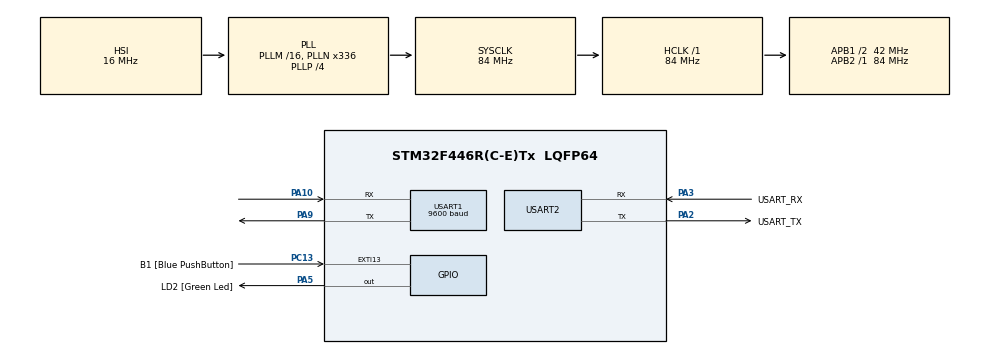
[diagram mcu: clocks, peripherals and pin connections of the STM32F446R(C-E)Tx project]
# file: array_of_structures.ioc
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Mcu.Family=STM32F4
Mcu.Name=STM32F446R(C-E)Tx
Mcu.Package=LQFP64
NVIC.PriorityGroup=NVIC_PRIORITYGROUP_0
PA10.Mode=Asynchronous
PA10.Signal=USART1_RX
PA13.GPIO_Label=TMS
PA13.Mode=Serial_Wire
PA13.Signal=SYS_JTMS-SWDIO
PA14.GPIO_Label=TCK
PA14.Mode=Serial_Wire
PA14.Signal=SYS_JTCK-SWCLK
PA2.GPIO_Label=USART_TX
PA2.Mode=Asynchronous
PA2.Signal=USART2_TX
PA3.GPIO_Label=USART_RX
PA3.Mode=Asynchronous
PA3.Signal=USART2_RX
PA5.GPIO_Label=LD2 [Green Led]
PA5.Signal=GPIO_Output
PA9.Mode=Asynchronous
PA9.Signal=USART1_TX
PB3.GPIO_Label=SWO
PB3.Signal=SYS_JTDO-SWO
PC13.GPIO_Label=B1 [Blue PushButton]
PC13.GPIO_ModeDefaultEXTI=GPIO_MODE_IT_FALLING
PC13.Signal=GPXTI13
PC14-OSC32_IN.Mode=LSE-External-Oscillator
PC14-OSC32_IN.Signal=RCC_OSC32_IN
PC15-OSC32_OUT.Mode=LSE-External-Oscillator
PC15-OSC32_OUT.Signal=RCC_OSC32_OUT
PH0-OSC_IN.Mode=HSE-External-Oscillator
PH0-OSC_IN.Signal=RCC_OSC_IN
PH1-OSC_OUT.Mode=HSE-External-Oscillator
PH1-OSC_OUT.Signal=RCC_OSC_OUT
ProjectManager.HeapSize=0x200
ProjectManager.StackSize=0x400
ProjectManager.TargetToolchain=STM32CubeIDE
RCC.48MHZClocksFreq_Value=84000000
RCC.AHBFreq_Value=84000000
RCC.APB1CLKDivider=RCC_HCLK_DIV2
RCC.APB1Freq_Value=42000000
RCC.APB1TimFreq_Value=84000000
RCC.APB2Freq_Value=84000000
RCC.APB2TimFreq_Value=84000000
RCC.CortexFreq_Value=84000000
RCC.FLatency-AdvancedSettings=FLASH_LATENCY_2
RCC.HCLKFreq_Value=84000000
RCC.HSE_VALUE=8000000
RCC.HSI_VALUE=16000000
RCC.PLLN=336
RCC.PLLP=RCC_PLLP_DIV4
RCC.SYSCLKFreq_VALUE=84000000
RCC.SYSCLKSource=RCC_SYSCLKSOURCE_PLLCLK
RCC.USBFreq_Value=168000000
RCC.VCOOutputFreq_Value=336000000
USART1.BaudRate=9600
USART1.VirtualMode=VM_ASYNC
USART2.VirtualMode=VM_ASYNC
board=NUCLEO-F446RE

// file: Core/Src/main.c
/* USER CODE BEGIN Header */
/**
  ******************************************************************************
  * @file           : main.c
  * @brief          : Main program body
  ******************************************************************************
  */
/* USER CODE END Header */
#include "main.h"
#include <string.h>
#include <stdio.h>

UART_HandleTypeDef huart1;
UART_HandleTypeDef huart2;

/* USER CODE BEGIN 0 */
#define SENSOR_COUNT 3

typedef struct __attribute__((packed)) {
    float temperature;
    float pressure;
    float humidity;
} SensorData_t;

SensorData_t sensor_array[SENSOR_COUNT] = {
    {25.5, 1013.25, 55.0},
    {26.1, 1012.80, 52.3},
    {24.7, 1014.00, 60.1}
};

void serialize_and_transmit_sensors(SensorData_t *sensors, uint8_t count, UART_HandleTypeDef *huart) {
    uint8_t header[] = "SENSORS:\n";
    HAL_UART_Transmit(huart, header, sizeof(header) - 1, HAL_MAX_DELAY);

    uint8_t buffer[sizeof(SensorData_t) * SENSOR_COUNT];
    memcpy(buffer, sensors, sizeof(SensorData_t) * count);

    HAL_UART_Transmit(huart, buffer, sizeof(buffer), HAL_MAX_DELAY);
}
void send_sensor_data_ascii(SensorData_t *sensors, uint8_t count, UART_HandleTypeDef *huart) {
    char msg[100];
    for (int i = 0; i < count; i++) {
        snprintf(msg, sizeof(msg), "Sensor %d => T: %.2f C, P: %.2f hPa, H: %.2f %%\r\n",
                 i + 1,
                 sensors[i].temperature,
                 sensors[i].pressure,
                 sensors[i].humidity);

        HAL_UART_Transmit(huart, (uint8_t*)msg, strlen(msg), HAL_MAX_DELAY);
    }
}

/* USER CODE END 0 */

void SystemClock_Config(void);
static void MX_GPIO_Init(void);
static void MX_USART1_UART_Init(void);
static void MX_USART2_UART_Init(void);

int main(void)
{
  HAL_Init();
  SystemClock_Config();
  MX_GPIO_Init();
  MX_USART1_UART_Init(); // ST-Link VCOM
  MX_USART2_UART_Init(); // Optional UART
  char msg[] = "Sending Sensor Data...\n";
  HAL_UART_Transmit(&huart2, (uint8_t*)msg, strlen(msg), HAL_MAX_DELAY);
 // HAL_UART_Transmit(&huart1, (uint8_t*)msg, strlen(msg), HAL_MAX_DELAY);

  while (1)
  {
   //serialize_and_transmit_sensors(sensor_array, SENSOR_COUNT, &huart1);  // USART1 for Virtual COM
	//  serialize_and_transmit_sensors(sensor_array, SENSOR_COUNT, &huart2); // Use USART2
	  //send_sensor_data_ascii(sensor_array, SENSOR_COUNT, &huart1);
	  send_sensor_data_ascii(sensor_array, SENSOR_COUNT, &huart2);
	  HAL_Delay(1000);
  }
}
void SystemClock_Config(void)
{
  RCC_OscInitTypeDef RCC_OscInitStruct = {0};
  RCC_ClkInitTypeDef RCC_ClkInitStruct = {0};

  /** Configure the main internal regulator output voltage
  */
  __HAL_RCC_PWR_CLK_ENABLE();
  __HAL_PWR_VOLTAGESCALING_CONFIG(PWR_REGULATOR_VOLTAGE_SCALE3);

  /** Initializes the RCC Oscillators according to the specified parameters
  * in the RCC_OscInitTypeDef structure.
  */
  RCC_OscInitStruct.OscillatorType = RCC_OSCILLATORTYPE_HSI;
  RCC_OscInitStruct.HSIState = RCC_HSI_ON;
  RCC_OscInitStruct.HSICalibrationValue = RCC_HSICALIBRATION_DEFAULT;
  RCC_OscInitStruct.PLL.PLLState = RCC_PLL_ON;
  RCC_OscInitStruct.PLL.PLLSource = RCC_PLLSOURCE_HSI;
  RCC_OscInitStruct.PLL.PLLM = 16;
  RCC_OscInitStruct.PLL.PLLN = 336;
  RCC_OscInitStruct.PLL.PLLP = RCC_PLLP_DIV4;
  RCC_OscInitStruct.PLL.PLLQ = 2;
  RCC_OscInitStruct.PLL.PLLR = 2;
  if (HAL_RCC_OscConfig(&RCC_OscInitStruct) != HAL_OK)
  {
    Error_Handler();
  }

  /** Initializes the CPU, AHB and APB buses clocks
  */
  RCC_ClkInitStruct.ClockType = RCC_CLOCKTYPE_HCLK|RCC_CLOCKTYPE_SYSCLK
                              |RCC_CLOCKTYPE_PCLK1|RCC_CLOCKTYPE_PCLK2;
  RCC_ClkInitStruct.SYSCLKSource = RCC_SYSCLKSOURCE_PLLCLK;
  RCC_ClkInitStruct.AHBCLKDivider = RCC_SYSCLK_DIV1;
  RCC_ClkInitStruct.APB1CLKDivider = RCC_HCLK_DIV2;
  RCC_ClkInitStruct.APB2CLKDivider = RCC_HCLK_DIV1;

  if (HAL_RCC_ClockConfig(&RCC_ClkInitStruct, FLASH_LATENCY_2) != HAL_OK)
  {
    Error_Handler();
  }
}

static void MX_USART1_UART_Init(void)
{

  huart1.Instance = USART1;
  huart1.Init.BaudRate = 9600;
  huart1.Init.WordLength = UART_WORDLENGTH_8B;
  huart1.Init.StopBits = UART_STOPBITS_1;
  huart1.Init.Parity = UART_PARITY_NONE;
  huart1.Init.Mode = UART_MODE_TX_RX;
  huart1.Init.HwFlowCtl = UART_HWCONTROL_NONE;
  huart1.Init.OverSampling = UART_OVERSAMPLING_16;
  if (HAL_UART_Init(&huart1) != HAL_OK)
  {
    Error_Handler();
  }

}

static void MX_USART2_UART_Init(void)
{

  huart2.Instance = USART2;
  huart2.Init.BaudRate = 115200;
  huart2.Init.WordLength = UART_WORDLENGTH_8B;
  huart2.Init.StopBits = UART_STOPBITS_1;
  huart2.Init.Parity = UART_PARITY_NONE;
  huart2.Init.Mode = UART_MODE_TX_RX;
  huart2.Init.HwFlowCtl = UART_HWCONTROL_NONE;
  huart2.Init.OverSampling = UART_OVERSAMPLING_16;
  if (HAL_UART_Init(&huart2) != HAL_OK)
  {
    Error_Handler();
  }

}

static void MX_GPIO_Init(void)
{
  GPIO_InitTypeDef GPIO_InitStruct = {0};

  /* GPIO Ports Clock Enable */
  __HAL_RCC_GPIOC_CLK_ENABLE();
  __HAL_RCC_GPIOH_CLK_ENABLE();
  __HAL_RCC_GPIOA_CLK_ENABLE();
  __HAL_RCC_GPIOB_CLK_ENABLE();

  /*Configure GPIO pin Output Level */
  HAL_GPIO_WritePin(LD2_GPIO_Port, LD2_Pin, GPIO_PIN_RESET);

  /*Configure GPIO pin : B1_Pin */
  GPIO_InitStruct.Pin = B1_Pin;
  GPIO_InitStruct.Mode = GPIO_MODE_IT_FALLING;
  GPIO_InitStruct.Pull = GPIO_NOPULL;
  HAL_GPIO_Init(B1_GPIO_Port, &GPIO_InitStruct);

  /*Configure GPIO pin : LD2_Pin */
  GPIO_InitStruct.Pin = LD2_Pin;
  GPIO_InitStruct.Mode = GPIO_MODE_OUTPUT_PP;
  GPIO_InitStruct.Pull = GPIO_NOPULL;
  GPIO_InitStruct.Speed = GPIO_SPEED_FREQ_LOW;
  HAL_GPIO_Init(LD2_GPIO_Port, &GPIO_InitStruct);

}

void Error_Handler(void)
{
  __disable_irq();
  while (1)
  {
  }
}
